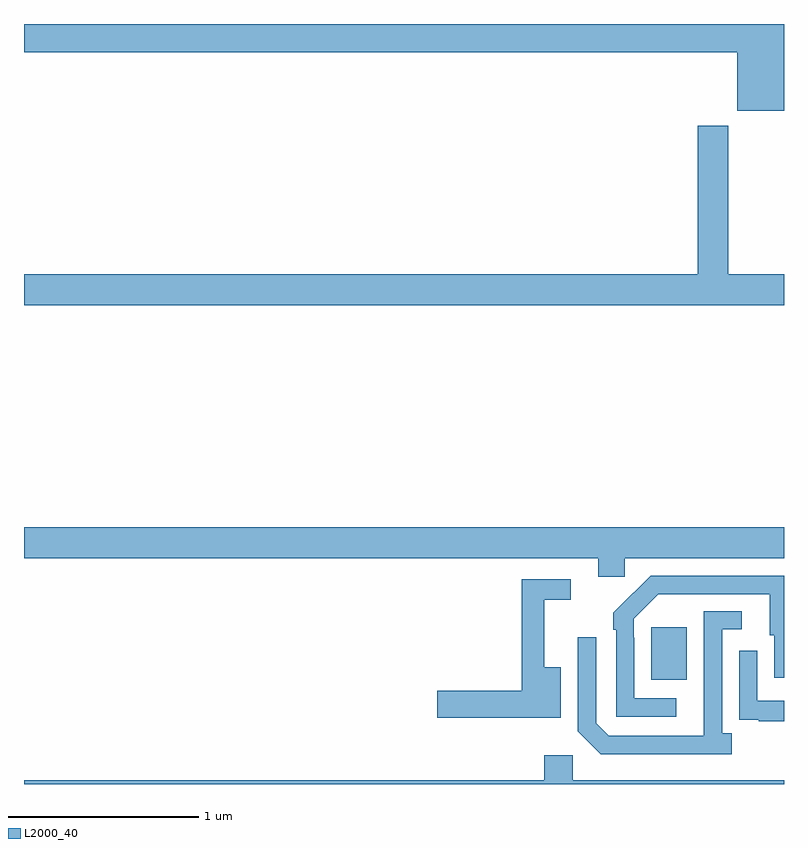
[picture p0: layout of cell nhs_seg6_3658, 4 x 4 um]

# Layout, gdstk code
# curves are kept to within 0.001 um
import gdstk
lib = gdstk.Library(unit=1e-6, precision=1e-09)
def R(c, l, rs):  # rectangles x0, y0, x1, y1
    for r in rs: c.add(gdstk.rectangle(r[:2], r[2:], *l))
def P(c, l, *ps):  # polygons
    for p in ps: c.add(gdstk.Polygon(p, *l))
L2000_40 = (2000, 40)

nhs_seg6_3658 = lib.new_cell('nhs_seg6_3658')
R(nhs_seg6_3658, L2000_40, [(328.301,928.049,328.489,928.324)])
P(nhs_seg6_3658, L2000_40, [(329,931.5),(325,931.5),(325,931.352),(328.754,931.352),(328.754,931.043),(329,931.043)],
  [(329,930.184),(328.707,930.184),(328.707,930.964),(328.547,930.964),(328.547,930.184),(325,930.184),(325,930.02),(329,930.02)],
  [(328.161,928.688),(329,928.688),(329,928.852),(325,928.852),(325,928.688),(328.022,928.688),(328.022,928.59),(328.161,928.59)],
  [(328.432,927.951),(328.212,927.951),(328.212,928.271),(328.209,928.271),(328.209,928.371),(328.338,928.5),(328.925,928.5),(328.925,928.284),(328.949,928.284),(328.949,928.059),(329,928.059),(329,928.596),(328.298,928.596),(328.101,928.401),(328.101,928.313),(328.116,928.313),(328.116,927.855),(328.432,927.855)],
  [(327.826,928.114),(327.737,928.114),(327.737,928.47),(327.877,928.47),(327.877,928.578),(327.619,928.578),(327.619,927.992),(327.174,927.992),(327.174,927.85),(327.826,927.85)],
  [(328.726,927.766),(328.674,927.766),(328.674,928.314),(328.777,928.314),(328.777,928.41),(328.578,928.41),(328.577,927.753),(328.077,927.753),(328.011,927.819),(328.011,928.273),(327.915,928.273),(327.915,927.777),(328.036,927.656),(328.726,927.656)],
  [(329,927.939),(328.86,927.939),(328.86,928.201),(328.764,928.201),(328.764,927.946),(328.765,927.946),(328.765,927.837),(328.867,927.837),(328.867,927.831),(329,927.831)],
  [(329,927.52),(327.888,927.52),(327.888,927.652),(327.737,927.652),(327.737,927.52),(325,927.52),(325,927.5),(329,927.5)])

lib.write_gds('nhs_seg6_3658.gds')
